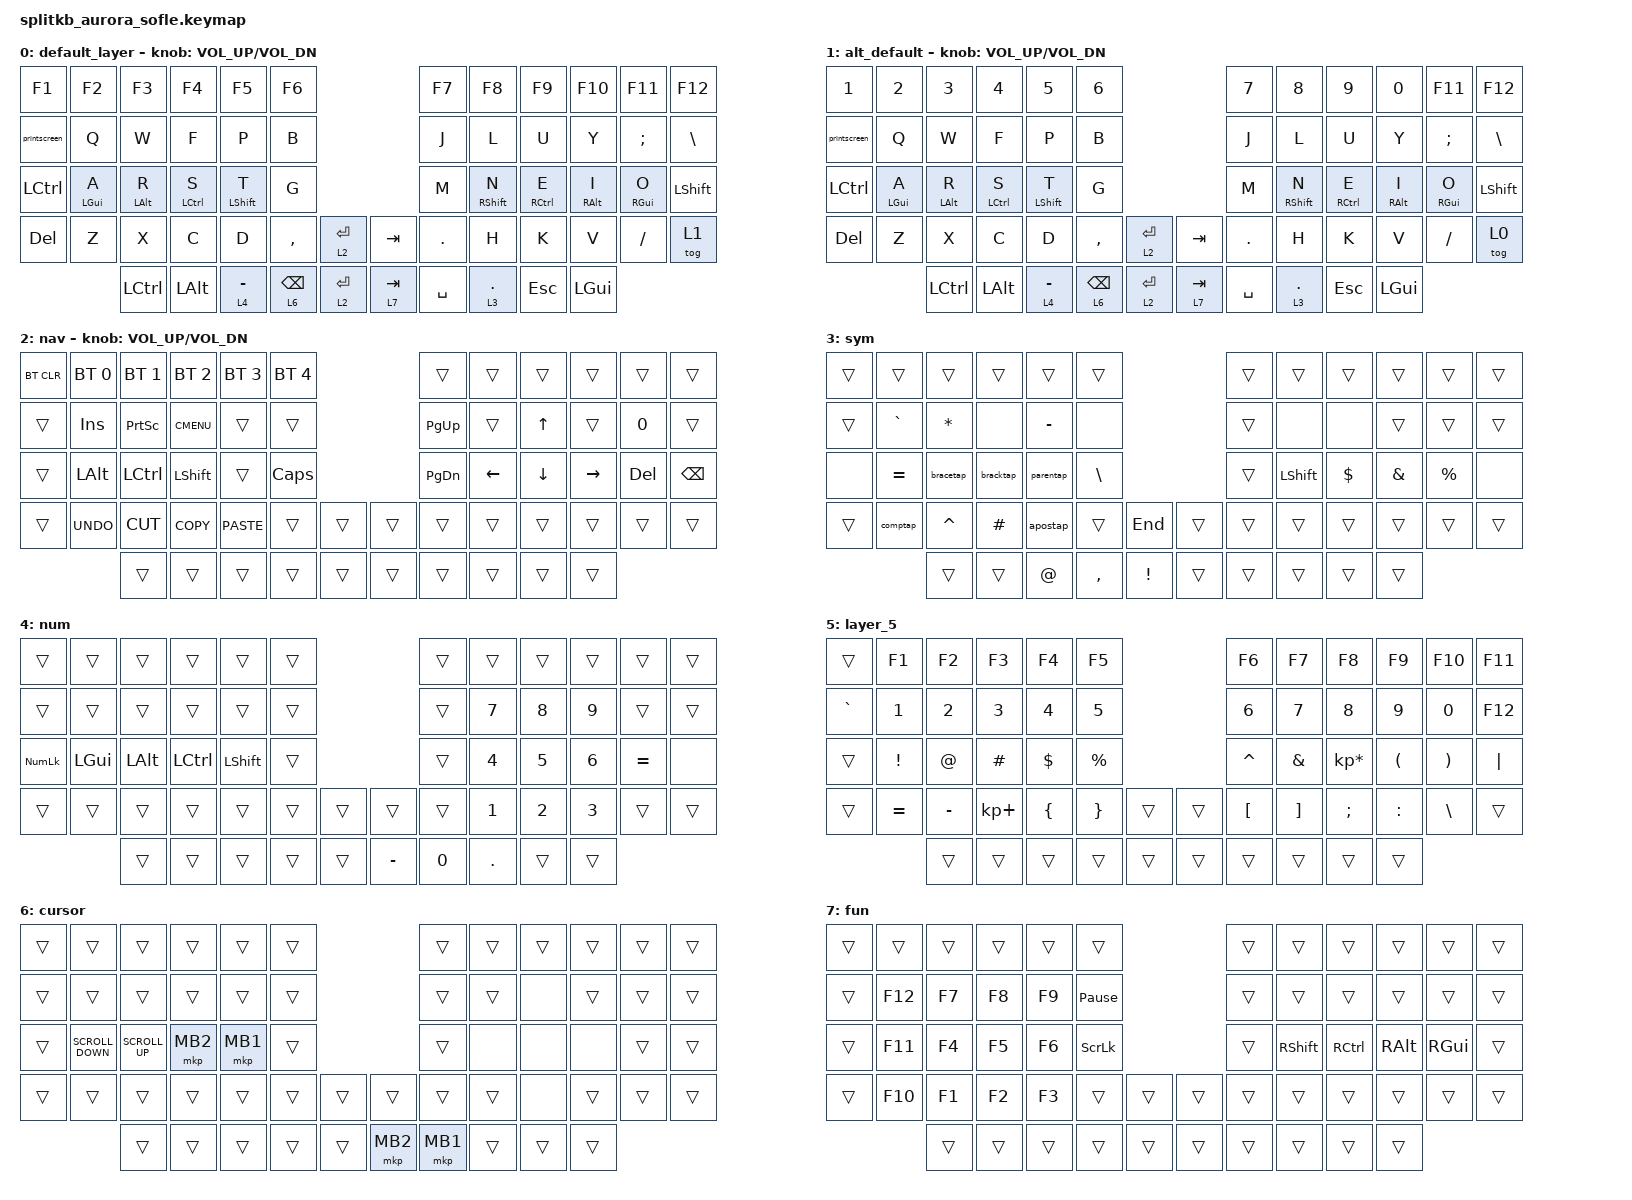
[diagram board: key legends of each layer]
/*
 * Copyright (c) 2023 The ZMK Contributors
 *
 * SPDX-License-Identifier: MIT
 */

#include <behaviors.dtsi>
#include <dt-bindings/zmk/bt.h>
#include <dt-bindings/zmk/keys.h>
#include <dt-bindings/zmk/mouse.h>

/* Uncomment this block if using RGB
&led_strip {
    chain-length = <6>;
    // chain-length = <35>; // Uncomment if using both per-key and underglow LEDs
    // chain-length = <29>; // Uncomment if using only per-key LEDs.
};
 */

/ {
    behaviors {
        slashtap: slashtap {
            compatible = "zmk,behavior-tap-dance";
            label = "SLASHTAP";
            #binding-cells = <0>;
            tapping-term-ms = <200>;
            bindings = <&kp SLASH>, <&kp BSLH>;
        };

        parentap: parentap {
            compatible = "zmk,behavior-tap-dance";
            label = "PARENTAP";
            #binding-cells = <0>;
            bindings = <&kp LEFT_PARENTHESIS>, <&kp RIGHT_PARENTHESIS>;
        };

        bracktap: bracktap {
            compatible = "zmk,behavior-tap-dance";
            label = "BRACKTAP";
            #binding-cells = <0>;
            bindings = <&kp LEFT_BRACKET>, <&kp RIGHT_BRACKET>;
        };

        bracetap: bracetap {
            compatible = "zmk,behavior-tap-dance";
            label = "BRACETAP";
            #binding-cells = <0>;
            bindings = <&kp LEFT_BRACE>, <&kp RIGHT_BRACE>;
        };

        apostap: apostap {
            compatible = "zmk,behavior-tap-dance";
            label = "APOSTAP";
            #binding-cells = <0>;
            bindings = <&kp APOS>, <&kp LS(APOS)>;
        };

        backtap: backtap {
            compatible = "zmk,behavior-tap-dance";
            label = "BACKTAP";
            #binding-cells = <0>;
            bindings = <&kp BACKSPACE>, <&kp LC(BACKSPACE)>;
        };

        comptap: comptap {
            compatible = "zmk,behavior-tap-dance";
            label = "COMPTAP";
            #binding-cells = <0>;
            bindings = <&kp LESS_THAN>, <&kp GREATER_THAN>;
        };

        printscreen: printscreen {
            compatible = "zmk,behavior-tap-dance";
            label = "PRINTSCREEN";
            #binding-cells = <0>;
            bindings = <&kp LA(PSCRN)>, <&kp LG(PSCRN)>;

            tapping-term-ms = <400>;
        };

        homerow_mods: homerow_mods {
            compatible = "zmk,behavior-hold-tap";
            label = "HOMEROW_MODS";
            bindings = <&kp>, <&kp>;

            #binding-cells = <2>;
            flavor = "tap-preferred";
            tapping-term-ms = <200>;
        };

        homerow_mods_super: homerow_mods_super {
            compatible = "zmk,behavior-hold-tap";
            label = "HOMEROW_MODS_SUPER";
            bindings = <&kp>, <&kp>;

            #binding-cells = <2>;
            tapping-term-ms = <1000>;
            flavor = "tap-preferred";
        };

        back_morph: back_morph {
            compatible = "zmk,behavior-mod-morph";
            label = "BACK_MORPH";
            bindings = <&kp BACKSPACE>, <&none>;

            #binding-cells = <0>;
            mods = <(MOD_RSFT|MOD_LSFT)>;
        };
    };

    keymap {
        compatible = "zmk,keymap";

        default_layer {
            // ------------------------------------------------------------------------------------------------------------
            // |  ESC  |  1  |  2  |  3   |  4   |  5   |                   |  6   |  7    |  8    |  9   |   0   |   `   |
            // |  TAB  |  Q  |  W  |  E   |  R   |  T   |                   |  Y   |  U    |  I    |  O   |   P   |   -   |
            // |  CTRL |  A  |  S  |  D   |  F   |  G   |                   |  H   |  J    |  K    |  L   |   ;   |   '   |
            // | SHIFT |  Z  |  X  |  C   |  V   |  B   |   "["  |  |  "]"  |  N   |  M    |  ,    |  .   |   /   | SHIFT |
            //               |CTRL | ALT  | GUI  | LOWER|  SPACE |  | ENTER | RAISE| BSPC  | GUI   | RALT |

            bindings = <
&kp F1        &kp F2                      &kp F3                &kp F4                 &kp F5                  &kp F6                                     &kp F7     &kp F8                  &kp F9                 &kp F10               &kp F11                     &kp F12
&printscreen  &kp Q                       &kp W                 &kp F                  &kp P                   &kp B                                      &kp J      &kp L                   &kp U                  &kp Y                 &kp SEMI                    &kp BSLH
&kp LCTRL     &homerow_mods_super LGUI A  &homerow_mods LALT R  &homerow_mods LCTRL S  &homerow_mods LSHIFT T  &kp G                                      &kp M      &homerow_mods RSHIFT N  &homerow_mods RCTRL E  &homerow_mods RALT I  &homerow_mods_super RGUI O  &kp LSHFT
&kp DEL       &kp Z                       &kp X                 &kp C                  &kp D                   &kp COMMA        &lt 2 ENTER    &kp TAB    &kp DOT    &kp H                   &kp K                  &kp V                 &kp FSLH                    &tog 1
                                          &kp LCTRL             &kp LALT               &lt 4 MINUS             &lt 6 BACKSPACE  &lt 2 ENTER    &lt 7 TAB  &kp SPACE  &lt 3 PERIOD            &kp ESC                &kp LGUI
            >;

            sensor-bindings = <&inc_dec_kp C_VOL_UP C_VOL_DN>;
        };

        alt_default {
            // ------------------------------------------------------------------------------------------------------------
            // | BTCLR | BT1 | BT2 |  BT3 |  BT4 |  BT5 |                   |      |       |       |      |       |       |
            // |  F1   |  F2 |  F3 |  F4  |  F5  |  F6  |                   |  F7  |  F8   |  F9   |  F10 |  F11  |  F12  |
            // |   `   |  !  |  @  |  #   |  $   |  %   |                   |  ^   |  &    |  *    |  (   |   )   |   ~   |
            // |       |     |     |      |      |      |        |  |       |      |  _    |  +    |  {   |   }   |  "|"  |
            //               |     |      |      |      |        |  |       |      |       |       |      |

            bindings = <
&kp N1        &kp N2                      &kp N3                &kp NUMBER_4           &kp N5                  &kp N6                                     &kp N7     &kp N8                  &kp N9                 &kp N0                &kp F11                     &kp F12
&printscreen  &kp Q                       &kp W                 &kp F                  &kp P                   &kp B                                      &kp J      &kp L                   &kp U                  &kp Y                 &kp SEMI                    &kp BSLH
&kp LCTRL     &homerow_mods_super LGUI A  &homerow_mods LALT R  &homerow_mods LCTRL S  &homerow_mods LSHIFT T  &kp G                                      &kp M      &homerow_mods RSHIFT N  &homerow_mods RCTRL E  &homerow_mods RALT I  &homerow_mods_super RGUI O  &kp LSHFT
&kp DEL       &kp Z                       &kp X                 &kp C                  &kp D                   &kp COMMA        &lt 2 ENTER    &kp TAB    &kp DOT    &kp H                   &kp K                  &kp V                 &kp FSLH                    &tog 0
                                          &kp LCTRL             &kp LALT               &lt 4 MINUS             &lt 6 BACKSPACE  &lt 2 ENTER    &lt 7 TAB  &kp SPACE  &lt 3 PERIOD            &kp ESC                &kp LGUI
            >;

            sensor-bindings = <&inc_dec_kp C_VOL_UP C_VOL_DN>;
        };

        nav {
            // ------------------------------------------------------------------------------------------------------------
            // |       |     |     |      |      |      |                   |      |       |       |      |       |       |
            // |   `   |  1  |  2  |  3   |  4   |  5   |                   |  6   |   7   |   8   |  9   |   0   |       |
            // |   F1  |  F2 |  F3 |  F4  |  F5  |  F6  |                   |      |   <-  |   v   |  ^   |  ->   |       |
            // |   F7  |  F8 |  F9 |  F10 |  F11 |  F12 |        |  |       |  +   |   -   |   =   |  [   |   ]   |   \   |
            //               |     |      |      |      |        |  |       |      |       |       |      |

            bindings = <
&bt BT_CLR  &bt BT_SEL 0  &bt BT_SEL 1  &bt BT_SEL 2  &bt BT_SEL 3  &bt BT_SEL 4                    &trans     &trans    &trans    &trans     &trans   &trans
&trans      &kp INS       &kp PSCRN     &kp K_CMENU   &trans        &trans                          &kp PG_UP  &trans    &kp UP    &trans     &kp N0   &trans
&trans      &kp LALT      &kp LCTRL     &kp LSHFT     &trans        &kp CLCK                        &kp PG_DN  &kp LEFT  &kp DOWN  &kp RIGHT  &kp DEL  &kp BSPC
&trans      &kp K_UNDO    &kp K_CUT     &kp K_COPY    &kp K_PASTE   &trans        &trans    &trans  &trans     &trans    &trans    &trans     &trans   &trans
                          &trans        &trans        &trans        &trans        &trans    &trans  &trans     &trans    &trans    &trans
            >;

            sensor-bindings = <&inc_dec_kp C_VOL_UP C_VOL_DN>;
        };

        sym {
            bindings = <
&trans  &trans     &trans        &trans     &trans     &trans                             &trans  &trans      &trans      &trans    &trans       &trans
&trans  &kp GRAVE  &kp ASTERISK  &none      &kp MINUS  &none                              &trans  &none       &none       &trans    &trans       &trans
&none   &kp EQUAL  &bracetap     &bracktap  &parentap  &kp BACKSLASH                      &trans  &kp LSHIFT  &kp DOLLAR  &kp AMPS  &kp PERCENT  &none
&trans  &comptap   &kp CARET     &kp HASH   &apostap   &trans         &kp END     &trans  &trans  &trans      &trans      &trans    &trans       &trans
                   &trans        &trans     &kp AT     &kp COMMA      &kp EXCL    &trans  &trans  &trans      &trans      &trans
            >;
        };

        num {
            bindings = <
&trans          &trans    &trans        &trans     &trans      &trans                       &trans  &trans   &trans  &trans  &trans     &trans
&trans          &trans    &trans        &trans     &trans      &trans                       &trans  &kp N7   &kp N8  &kp N9  &trans     &trans
&kp KP_NUMLOCK  &kp LGUI  &kp LEFT_ALT  &kp LCTRL  &kp LSHIFT  &trans                       &trans  &kp N4   &kp N5  &kp N6  &kp EQUAL  &none
&trans          &trans    &trans        &trans     &trans      &trans  &trans    &trans     &trans  &kp N1   &kp N2  &kp N3  &trans     &trans
                          &trans        &trans     &trans      &trans  &trans    &kp MINUS  &kp N0  &kp DOT  &trans  &trans
            >;
        };

        layer_5 {
            bindings = <
&trans     &kp F1     &kp F2     &kp F3       &kp F4    &kp F5                       &kp F6     &kp F7    &kp F8           &kp F9     &kp F10   &kp F11
&kp GRAVE  &kp N1     &kp N2     &kp N3       &kp N4    &kp N5                       &kp N6     &kp N7    &kp N8           &kp N9     &kp N0    &kp F12
&trans     &kp EXCL   &kp AT     &kp HASH     &kp DLLR  &kp PRCNT                    &kp CARET  &kp AMPS  &kp KP_MULTIPLY  &kp LPAR   &kp RPAR  &kp PIPE
&trans     &kp EQUAL  &kp MINUS  &kp KP_PLUS  &kp LBRC  &kp RBRC   &trans    &trans  &kp LBKT   &kp RBKT  &kp SEMI         &kp COLON  &kp BSLH  &trans
                      &trans     &trans       &trans    &trans     &trans    &trans  &trans     &trans    &trans           &trans
            >;
        };

        cursor {
            bindings = <
&trans  &trans             &trans           &trans    &trans    &trans                      &trans    &trans  &trans  &trans  &trans  &trans
&trans  &trans             &trans           &trans    &trans    &trans                      &trans    &trans  &none   &trans  &trans  &trans
&trans  &kp K_SCROLL_DOWN  &kp K_SCROLL_UP  &mkp MB2  &mkp MB1  &trans                      &trans    &none   &none   &none   &trans  &trans
&trans  &trans             &trans           &trans    &trans    &trans  &trans    &trans    &trans    &trans  &none   &trans  &trans  &trans
                           &trans           &trans    &trans    &trans  &trans    &mkp MB2  &mkp MB1  &trans  &trans  &trans
            >;
        };

        fun {
            bindings = <
&trans  &trans   &trans  &trans  &trans  &trans                             &trans  &trans     &trans     &trans    &trans    &trans
&trans  &kp F12  &kp F7  &kp F8  &kp F9  &kp PAUSE_BREAK                    &trans  &trans     &trans     &trans    &trans    &trans
&trans  &kp F11  &kp F4  &kp F5  &kp F6  &kp SCROLLLOCK                     &trans  &kp RSHFT  &kp RCTRL  &kp RALT  &kp RGUI  &trans
&trans  &kp F10  &kp F1  &kp F2  &kp F3  &trans           &trans    &trans  &trans  &trans     &trans     &trans    &trans    &trans
                 &trans  &trans  &trans  &trans           &trans    &trans  &trans  &trans     &trans     &trans
            >;
        };
    };
};
